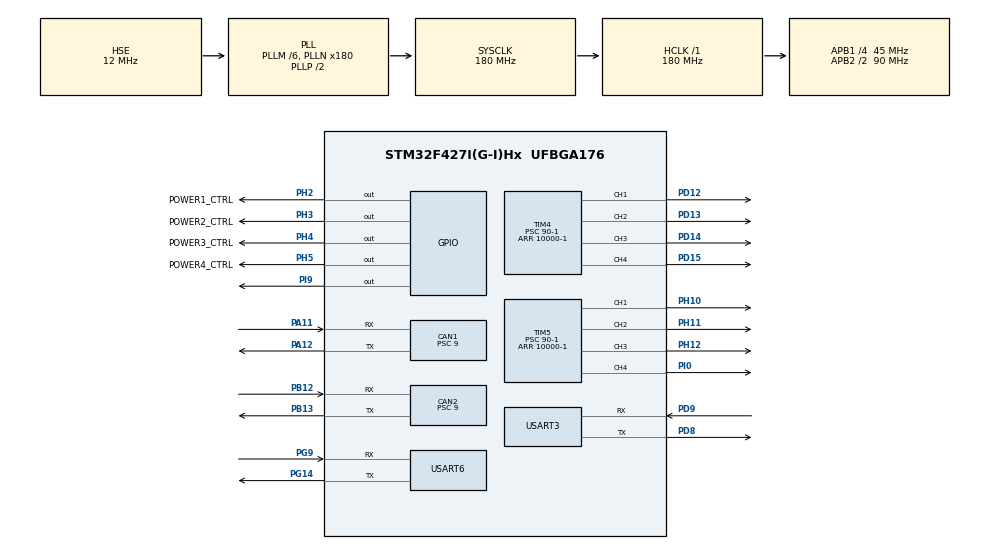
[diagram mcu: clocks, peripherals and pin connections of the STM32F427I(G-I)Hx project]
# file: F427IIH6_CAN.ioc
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CAN1.ABOM=ENABLE
CAN1.AWUM=DISABLE
CAN1.BS1=CAN_BS1_2TQ
CAN1.BS2=CAN_BS2_2TQ
CAN1.CalculateBaudRate=1000000
CAN1.CalculateTimeBit=1000
CAN1.CalculateTimeQuantum=200.0
CAN1.Mode=CAN_MODE_NORMAL
CAN1.NART=ENABLE
CAN1.Prescaler=9
CAN1.SJW=CAN_SJW_1TQ
CAN2.ABOM=ENABLE
CAN2.BS1=CAN_BS1_2TQ
CAN2.BS2=CAN_BS2_2TQ
CAN2.CalculateBaudRate=1000000
CAN2.CalculateTimeBit=1000
CAN2.CalculateTimeQuantum=200.0
CAN2.NART=ENABLE
CAN2.Prescaler=9
Dma.Request0=USART6_RX
Dma.USART6_RX.0.Direction=DMA_PERIPH_TO_MEMORY
Dma.USART6_RX.0.FIFOMode=DMA_FIFOMODE_DISABLE
Dma.USART6_RX.0.Instance=DMA2_Stream1
Dma.USART6_RX.0.MemDataAlignment=DMA_MDATAALIGN_BYTE
Dma.USART6_RX.0.MemInc=DMA_MINC_ENABLE
Dma.USART6_RX.0.Mode=DMA_NORMAL
Dma.USART6_RX.0.PeriphDataAlignment=DMA_PDATAALIGN_BYTE
Dma.USART6_RX.0.PeriphInc=DMA_PINC_DISABLE
Dma.USART6_RX.0.Priority=DMA_PRIORITY_MEDIUM
FREERTOS.Tasks01=defaultTask,0,128,StartDefaultTask,Default,NULL,Dynamic,NULL,NULL
FREERTOS.configENABLE_FPU=1
Mcu.Family=STM32F4
Mcu.Name=STM32F427I(G-I)Hx
Mcu.Package=UFBGA176
NVIC.CAN1_RX0_IRQn=true\:5\:0\:false\:false\:true\:true\:true\:true\:true
NVIC.CAN1_RX1_IRQn=true\:5\:0\:false\:false\:true\:true\:true\:true\:true
NVIC.CAN2_RX0_IRQn=true\:5\:0\:false\:false\:true\:true\:true\:true\:true
NVIC.CAN2_RX1_IRQn=true\:5\:0\:false\:false\:true\:true\:true\:true\:true
NVIC.DMA2_Stream1_IRQn=true\:5\:0\:false\:false\:true\:true\:false\:true\:true
NVIC.PriorityGroup=NVIC_PRIORITYGROUP_4
NVIC.USART6_IRQn=true\:5\:0\:false\:false\:true\:true\:true\:true\:true
PA11.GPIO_PuPd=GPIO_PULLUP
PA11.Mode=CAN_Activate
PA11.Signal=CAN1_RX
PA12.GPIO_PuPd=GPIO_PULLUP
PA12.Mode=CAN_Activate
PA12.Signal=CAN1_TX
PA13.Mode=Serial_Wire
PA13.Signal=SYS_JTMS-SWDIO
PA14.Mode=Serial_Wire
PA14.Signal=SYS_JTCK-SWCLK
PB12.GPIO_PuPd=GPIO_PULLUP
PB12.Mode=CAN_Activate
PB12.Signal=CAN2_RX
PB13.GPIO_PuPd=GPIO_PULLUP
PB13.Mode=CAN_Activate
PB13.Signal=CAN2_TX
PD12.Signal=S_TIM4_CH1
PD13.Signal=S_TIM4_CH2
PD14.Signal=S_TIM4_CH3
PD15.Signal=S_TIM4_CH4
PD8.Mode=Asynchronous
PD8.Signal=USART3_TX
PD9.Mode=Asynchronous
PD9.Signal=USART3_RX
PG14.Mode=Asynchronous
PG14.Signal=USART6_TX
PG9.Mode=Asynchronous
PG9.Signal=USART6_RX
PH0/OSC_IN.Mode=HSE-External-Oscillator
PH0/OSC_IN.Signal=RCC_OSC_IN
PH1/OSC_OUT.Mode=HSE-External-Oscillator
PH1/OSC_OUT.Signal=RCC_OSC_OUT
PH10.Signal=S_TIM5_CH1
PH11.Signal=S_TIM5_CH2
PH12.Signal=S_TIM5_CH3
PH2.GPIO_Label=POWER1_CTRL
PH2.Signal=GPIO_Output
PH3.GPIO_Label=POWER2_CTRL
PH3.Signal=GPIO_Output
PH4.GPIO_Label=POWER3_CTRL
PH4.Signal=GPIO_Output
PH5.GPIO_Label=POWER4_CTRL
PH5.Signal=GPIO_Output
PI0.Signal=S_TIM5_CH4
PI9.Signal=GPIO_Output
ProjectManager.HeapSize=0x1000
ProjectManager.StackSize=0x800
ProjectManager.TargetToolchain=MDK-ARM V5.32
RCC.48MHZClocksFreq_Value=90000000
RCC.AHBFreq_Value=180000000
RCC.APB1CLKDivider=RCC_HCLK_DIV4
RCC.APB1Freq_Value=45000000
RCC.APB1TimFreq_Value=90000000
RCC.APB2CLKDivider=RCC_HCLK_DIV2
RCC.APB2Freq_Value=90000000
RCC.APB2TimFreq_Value=180000000
RCC.CortexFreq_Value=180000000
RCC.HCLKFreq_Value=180000000
RCC.HSE_VALUE=12000000
RCC.HSI_VALUE=16000000
RCC.LSE_VALUE=32768
RCC.PLLM=6
RCC.PLLN=180
RCC.PLLSourceVirtual=RCC_PLLSOURCE_HSE
RCC.SYSCLKFreq_VALUE=180000000
RCC.SYSCLKSource=RCC_SYSCLKSOURCE_PLLCLK
RCC.VCOOutputFreq_Value=360000000
SH.S_TIM4_CH1.0=TIM4_CH1,PWM Generation1 CH1
SH.S_TIM4_CH2.0=TIM4_CH2,PWM Generation2 CH2
SH.S_TIM4_CH3.0=TIM4_CH3,PWM Generation3 CH3
SH.S_TIM4_CH4.0=TIM4_CH4,PWM Generation4 CH4
SH.S_TIM5_CH1.0=TIM5_CH1,PWM Generation1 CH1
SH.S_TIM5_CH2.0=TIM5_CH2,PWM Generation2 CH2
SH.S_TIM5_CH3.0=TIM5_CH3,PWM Generation3 CH3
SH.S_TIM5_CH4.0=TIM5_CH4,PWM Generation4 CH4
TIM4.AutoReloadPreload=TIM_AUTORELOAD_PRELOAD_ENABLE
TIM4.Channel-PWM\ Generation1\ CH1=TIM_CHANNEL_1
TIM4.Channel-PWM\ Generation2\ CH2=TIM_CHANNEL_2
TIM4.Channel-PWM\ Generation3\ CH3=TIM_CHANNEL_3
TIM4.Channel-PWM\ Generation4\ CH4=TIM_CHANNEL_4
TIM4.Period=10000-1
TIM4.Prescaler=90-1
TIM5.AutoReloadPreload=TIM_AUTORELOAD_PRELOAD_ENABLE
TIM5.Channel-PWM\ Generation1\ CH1=TIM_CHANNEL_1
TIM5.Channel-PWM\ Generation2\ CH2=TIM_CHANNEL_2
TIM5.Channel-PWM\ Generation3\ CH3=TIM_CHANNEL_3
TIM5.Channel-PWM\ Generation4\ CH4=TIM_CHANNEL_4
TIM5.Period=10000-1
TIM5.Prescaler=90-1
USART3.VirtualMode=VM_ASYNC
USART6.VirtualMode=VM_ASYNC
VP_FREERTOS_VS_CMSIS_V1.Mode=CMSIS_V1
VP_TIM4_VS_ClockSourceINT.Mode=Internal
VP_TIM5_VS_ClockSourceINT.Mode=Internal
board=custom

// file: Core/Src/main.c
/* USER CODE BEGIN Header */
/**
  ******************************************************************************
  * @file           : main.c
  * @brief          : Main program body
  ******************************************************************************
  * @attention
  *
  * Copyright (c) 2025 STMicroelectronics.
  * All rights reserved.
  *
  * This software is licensed under terms that can be found in the LICENSE file
  * in the root directory of this software component.
  * If no LICENSE file comes with this software, it is provided AS-IS.
  *
  ******************************************************************************
  */
/* USER CODE END Header */
#include "main.h"
#include "cmsis_os.h"
#include "can.h"
#include "dma.h"
#include "tim.h"
#include "usart.h"
#include "gpio.h"

/* USER CODE BEGIN Includes */
	#include "dm_j4310.h"
	#include "maincpp.h"
	#include "math.h"
/* USER CODE END Includes */

/* USER CODE BEGIN PD */
#define fireVelo_low 5
#define fireVelo_high 9.5
// 高精度二次模型（误差最小）
int calculate_rpm(float desired_velocity) {
    const float A =3745, B = -3339.759f;
    return (int)( A * desired_velocity +B);
}
/* USER CODE END PD */

/* USER CODE BEGIN PV */
	float debug_shoot_velocity=0;
int get_rpm=0;
/* USER CODE END PV */

void SystemClock_Config(void);
void MX_FREERTOS_Init(void);

int main(void)
{

  /* MCU Configuration--------------------------------------------------------*/

  /* Reset of all peripherals, Initializes the Flash interface and the Systick. */
  HAL_Init();

  /* Configure the system clock */
  SystemClock_Config();

  /* Initialize all configured peripherals */
  MX_GPIO_Init();
  MX_DMA_Init();
  MX_CAN1_Init();
  MX_CAN2_Init();
  MX_USART3_UART_Init();
  MX_USART6_UART_Init();
  MX_TIM4_Init();
  MX_TIM5_Init();
  /* USER CODE BEGIN 2 */
 HAL_GPIO_WritePin(POWER1_CTRL_GPIO_Port,POWER1_CTRL_Pin,1);
  HAL_GPIO_WritePin(POWER2_CTRL_GPIO_Port,POWER2_CTRL_Pin,1);
	 HAL_GPIO_WritePin(POWER3_CTRL_GPIO_Port,POWER3_CTRL_Pin,1);
	  HAL_GPIO_WritePin(POWER4_CTRL_GPIO_Port,POWER4_CTRL_Pin,0);
//	HAL_TIM_PWM_Start(&htim4,TIM_CHANNEL_1);
//	int debug_pwm=0;

//	__HAL_TIM_SET_COMPARE(&htim4,TIM_CHANNEL_1,500);
	main_cpp();

//__HAL_TIM_SET_COMPARE(&htim4,TIM_CHANNEL_1,500);
//HAL_Delay(200);
//__HAL_TIM_SET_COMPARE(&htim4,TIM_CHANNEL_2,500);

//	uint8_t data[16]={0};
//	 HAL_UART_Receive_DMA(&huart6,(uint8_t*)data,sizeof(data));
//bsp_can_1_config();
//HAL_Delay(1);
// DM_4310_Register(&hcan1,0x001,0x000,mit_mode);

//	DM_J4310_instnce[0]->dm_controller_instance.p_des=12;
//DM_J4310_instnce[0]->dm_controller_instance.Kp = 1;
//DM_J4310_instnce[0]->dm_controller_instance.Kd =1;

// Enable_DM(DM_J4310_instnce[0]);
//bsp_can_2_config();
//HAL_Delay(3);
//达妙j4310初始id为0x01
//dm_motor_init();
//HAL_Delay(1);
//motor[Motor1].ctrl.mode=mit_mode;
//  motor[Motor1].id=0x01;
// dm_motor_enable(&hcan2, &motor[Motor1]);
// HAL_Delay(1000) ;
// mit_ctrl(&hcan2, &motor[Motor1], motor[Motor1].id, 10, 50, 0, 5, 0);
//uint32_t jntm = 0;

//MI_Motor_s xm_1;
//// MI_motor_GetID(&xm_1);
//// HAL_Delay(3);                                                                                                    ·
//// xm_1.motor_id = 0X7F;
//xm_1.motor_id = 0X7F;
//xm_1.phcan = &hcan2;
//MI_motor_Enable(&xm_1);
//HAL_Delay(3);
//MI_motor_SpeedControl(&xm_1, 5, 0.3);
// HAL_Delay(3);
// HAL_Delay(3000);

//   MI_motor_ChangeID(&xm_1, 0x7F, 0x01);
//   HAL_Delay(3);
//     xm_1.motor_id = 0X01;
//     MI_motor_SpeedControl(&xm_1, 5, 0.3);
//   MI_motor_Stop(&xm_1);
// HAL_Delay(3000);

//  MI_motor_SpeedControl(&xm_1, 25, 0.3);
// HAL_Delay(3);
   // // 开启dm电机
//	 DM_J4310_Controller_t *Rise_DMj4310;
//  Rise_DMj4310 = DM_4310_Register(&hcan1, 0x02, 0x03, pos_vel_mode);
//  Enable_DM(Rise_DMj4310);
//  HAL_Delay(10);
//  Rise_DMj4310->dm_controller_instance.P_des = 0;
//  Rise_DMj4310->dm_controller_instance.V_des = 3;

  /* USER CODE END 2 */

  /* Call init function for freertos objects (in cmsis_os2.c) */
  MX_FREERTOS_Init();

  /* Start scheduler */
  osKernelStart();

  /* We should never get here as control is now taken by the scheduler */

  /* Infinite loop */
  while (1)
  {

    /* USER CODE BEGIN 3 */
//		get_rpm= calculate_rpm(debug_shoot_velocity);
//
//		       Control_DM(Rise_DMj4310);
//
////	 HAL_UART_Receive_DMA(&huart6,(uint8_t*)data,sizeof(data));
//		HAL_Delay(6);
//			__HAL_TIM_SET_COMPARE(&htim4,TIM_CHANNEL_1,debug_pwm);
//		HAL_Delay(10);
  }
  /* USER CODE END 3 */
}

void SystemClock_Config(void)
{
  RCC_OscInitTypeDef RCC_OscInitStruct = {0};
  RCC_ClkInitTypeDef RCC_ClkInitStruct = {0};

  /** Configure the main internal regulator output voltage
  */
  __HAL_RCC_PWR_CLK_ENABLE();
  __HAL_PWR_VOLTAGESCALING_CONFIG(PWR_REGULATOR_VOLTAGE_SCALE1);

  /** Initializes the RCC Oscillators according to the specified parameters
  * in the RCC_OscInitTypeDef structure.
  */
  RCC_OscInitStruct.OscillatorType = RCC_OSCILLATORTYPE_HSE;
  RCC_OscInitStruct.HSEState = RCC_HSE_ON;
  RCC_OscInitStruct.PLL.PLLState = RCC_PLL_ON;
  RCC_OscInitStruct.PLL.PLLSource = RCC_PLLSOURCE_HSE;
  RCC_OscInitStruct.PLL.PLLM = 6;
  RCC_OscInitStruct.PLL.PLLN = 180;
  RCC_OscInitStruct.PLL.PLLP = RCC_PLLP_DIV2;
  RCC_OscInitStruct.PLL.PLLQ = 4;
  if (HAL_RCC_OscConfig(&RCC_OscInitStruct) != HAL_OK)
  {
    Error_Handler();
  }

  /** Activate the Over-Drive mode
  */
  if (HAL_PWREx_EnableOverDrive() != HAL_OK)
  {
    Error_Handler();
  }

  /** Initializes the CPU, AHB and APB buses clocks
  */
  RCC_ClkInitStruct.ClockType = RCC_CLOCKTYPE_HCLK|RCC_CLOCKTYPE_SYSCLK
                              |RCC_CLOCKTYPE_PCLK1|RCC_CLOCKTYPE_PCLK2;
  RCC_ClkInitStruct.SYSCLKSource = RCC_SYSCLKSOURCE_PLLCLK;
  RCC_ClkInitStruct.AHBCLKDivider = RCC_SYSCLK_DIV1;
  RCC_ClkInitStruct.APB1CLKDivider = RCC_HCLK_DIV4;
  RCC_ClkInitStruct.APB2CLKDivider = RCC_HCLK_DIV2;

  if (HAL_RCC_ClockConfig(&RCC_ClkInitStruct, FLASH_LATENCY_5) != HAL_OK)
  {
    Error_Handler();
  }
}

void Error_Handler(void)
{
  __disable_irq();
  while (1)
  {
  }
}
